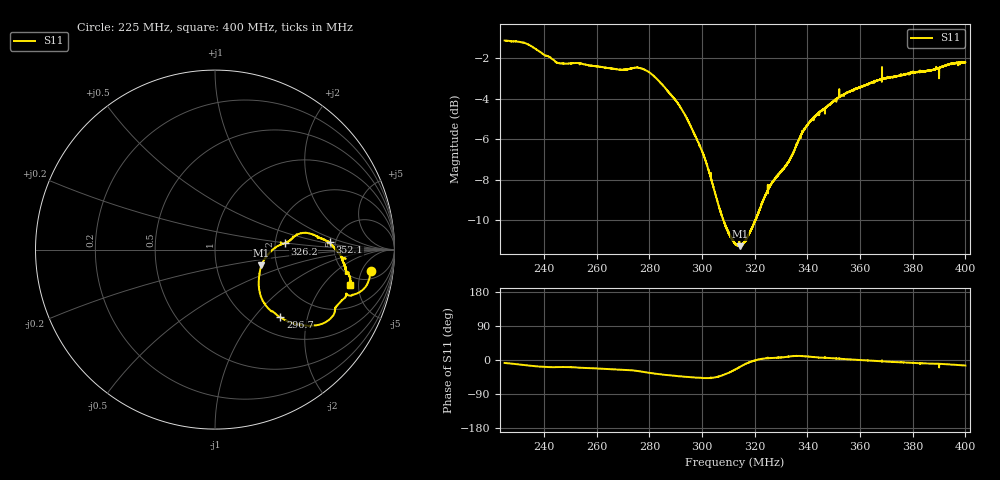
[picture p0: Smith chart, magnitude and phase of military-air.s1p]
! Calibrated averaged scanner-service zoom
# Hz S RI R 50
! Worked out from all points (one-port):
!   10001 points, 225 MHz to 400 MHz, reference 50 ohm
!   lowest |S11| = -11.3 dB at 314.3 MHz (marker M1), VSWR 1.75, Z = 83 - j15.7 ohm
!   |S11| at or under -10 dB: 308.1 MHz to 320.1 MHz (12.03 MHz wide, 3.83 % of centre); 320.1529 MHz to 320.212 MHz (59.16 kHz wide, 0.0185 % of centre)
!   S11 on the Smith chart (normalised r, x): 225 MHz: 7, -8; 296.7 MHz: 1.33, -1.38; 326.2 MHz: 2.26, +0.18; 352.1 MHz: 4.49, +0.61; 400 MHz: 3.95, -3.92
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2.25e8  0.8711 -0.1194
2.321575e8  0.8467 -0.1956
2.369525e8  0.8013 -0.2394
2.420625e8  0.7588 -0.2565
2.46875e8  0.7313 -0.2456
2.525975e8  0.7283 -0.2623
2.6875e8  0.6732 -0.3185
2.7274e8  0.6686 -0.3375
2.7694e8  0.6455 -0.3818
2.828375e8  0.5671 -0.421
2.90625e8  0.4552 -0.416
2.966625e8  0.3641 -0.3755
3.010375e8  0.3023 -0.3327
3.050975e8  0.2561 -0.2622
3.0907e8  0.2431 -0.183
3.125e8  0.2501 -0.119
3.142675e8  0.2586 -0.0874
3.20725e8  0.3218 6.13e-05
3.262025e8  0.3876 0.0343
3.34375e8  0.4536 0.0811
3.372975e8  0.5006 0.0944
3.411125e8  0.5514 0.0816
3.521025e8  0.64 0.0404
3.5625e8  0.6575 0.0169
3.6794e8  0.7034 -0.0415
3.78125e8  0.7218 -0.0889
3.910225e8  0.7451 -0.1379
4e8  0.7515 -0.1965
